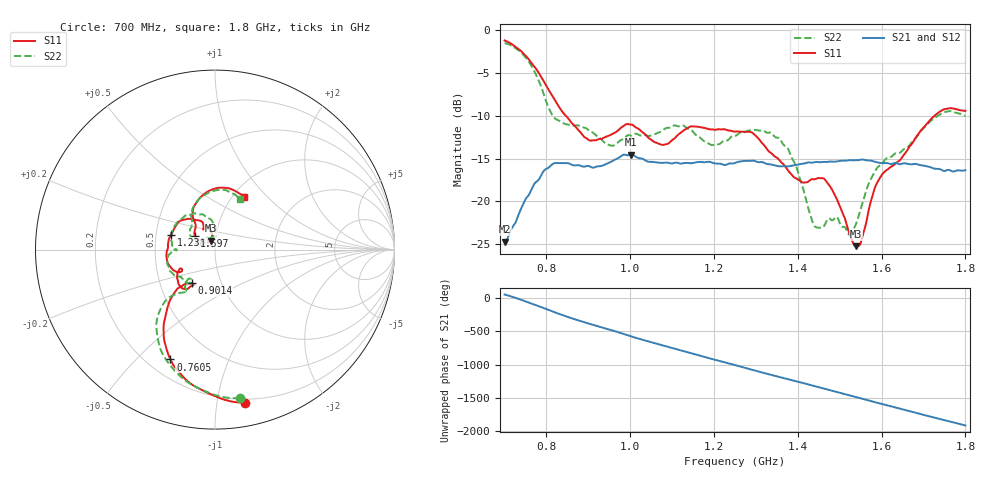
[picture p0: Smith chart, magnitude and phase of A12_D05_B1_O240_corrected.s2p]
! Created with skrf 1.9.0 (http://scikit-rf.org).
# Hz S RI R 50.0
!freq ReS11 ImS11 ReS21 ImS21 ReS12 ImS12 ReS22 ImS22
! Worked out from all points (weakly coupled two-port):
!   1601 points, 700 MHz to 1.8 GHz, reference 50 ohm
!   highest |S21| = -14.53 dB at 1.002 GHz (marker M1); lowest = -24.7 dB at 700.7 MHz (marker M2)
!   lowest |S11| = -25.2 dB at 1.538 GHz (marker M3), VSWR 1.12, Z = 47.5 + j4.72 ohm
!   |S11| at or under -10 dB: 846.2 MHz to 1.726 GHz (880 MHz wide, 68.4 % of centre)
!   |S22| runs from -23.9 to -1.5 dB; largest |S21 - S12| = 0.0035
!   S11 on the Smith chart (normalised r, x): 700 MHz: 0.17, -1.20; 760.5 MHz: 0.29, -0.63; 901.4 MHz: 0.72, -0.29; 1.238 GHz: 0.60, +0.11; 1.597 GHz: 0.79, +0.13; 1.8 GHz: 1.13, +0.75
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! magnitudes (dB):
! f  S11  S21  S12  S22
! 700 MHz  -1.2  -24.7  -24.5  -1.5
! 700.7 MHz  -1.2  -24.7  -24.4  -1.5
! 760.5 MHz  -3.6  -19.0  -18.9  -3.9
! 817.6 MHz  -8.0  -15.6  -15.7  -10.2
! 883.6 MHz  -12.1  -15.9  -15.8  -11.3
! 901.4 MHz  -12.9  -15.9  -15.9  -11.7
! 954.4 MHz  -12.2  -15.4  -15.4  -13.5
! 1.002 GHz  -11.0  -14.5  -14.6  -12.3
! 1.067 GHz  -13.2  -15.5  -15.4  -12.0
! 1.145 GHz  -11.2  -15.5  -15.6  -11.7
! 1.238 GHz  -11.7  -15.6  -15.7  -12.6
! 1.25 GHz  -11.9  -15.5  -15.4  -12.3
! 1.357 GHz  -15.2  -15.9  -15.8  -12.7
! 1.395 GHz  -17.3  -15.8  -15.7  -15.8
! 1.434 GHz  -17.4  -15.5  -15.4  -22.2
! 1.478 GHz  -18.3  -15.3  -15.4  -22.1
! 1.524 GHz  -23.8  -15.2  -15.2  -23.9
! 1.538 GHz  -25.2  -15.2  -15.2  -22.7
! 1.597 GHz  -17.2  -15.5  -15.5  -15.8
! 1.617 GHz  -16.2  -15.6  -15.5  -14.9
! 1.734 GHz  -9.7  -16.2  -16.2  -10.0
! 1.8 GHz  -9.4  -16.4  -16.4  -10.0
